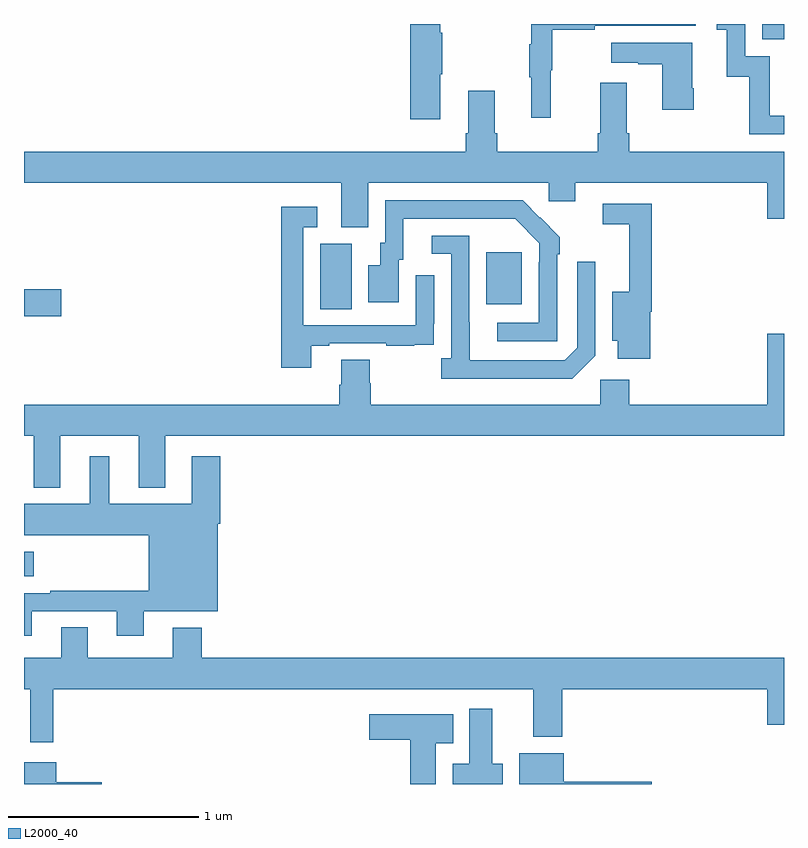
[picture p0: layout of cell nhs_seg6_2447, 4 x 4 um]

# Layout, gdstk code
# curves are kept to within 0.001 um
import gdstk
lib = gdstk.Library(unit=1e-6, precision=1e-09)
def R(c, l, rs):  # rectangles x0, y0, x1, y1
    for r in rs: c.add(gdstk.rectangle(r[:2], r[2:], *l))
def P(c, l, *ps):  # polygons
    for p in ps: c.add(gdstk.Polygon(p, *l))
L2000_40 = (2000, 40)

nhs_seg6_2447 = lib.new_cell('nhs_seg6_2447')
R(nhs_seg6_2447, L2000_40, [(257,950.594,257.05,950.722), (257,951.961,257.197,952.103), (258.56,952,258.724,952.344), (259.433,952.025,259.621,952.3), (260.886,953.421,261,953.5)])
P(nhs_seg6_2447, L2000_40, [(259.772,953.256),(259.779,953.256),(259.779,953.47),(260.003,953.47),(260.003,953.49),(260.536,953.49),(260.536,953.5),(259.67,953.5),(259.67,953.393),(259.659,953.393),(259.659,953.219),(259.67,953.219),(259.67,953.007),(259.772,953.007)],
  [(261,953.016),(260.925,953.016),(260.925,953.331),(260.796,953.331),(260.796,953.5),(260.646,953.5),(260.646,953.469),(260.699,953.469),(260.699,953.223),(260.817,953.223),(260.817,952.92),(261,952.92)],
  [(259.192,953.236),(259.2,953.236),(259.2,953.453),(259.192,953.453),(259.192,953.5),(259.034,953.5),(259.034,952.998),(259.192,952.998)],
  [(260.526,953.161),(260.518,953.161),(260.518,953.401),(260.091,953.401),(260.091,953.297),(260.234,953.297),(260.234,953.287),(260.36,953.287),(260.36,953.049),(260.526,953.049)],
  [(258.811,952.664),(259.761,952.664),(259.761,952.566),(259.9,952.566),(259.9,952.664),(260.912,952.664),(260.912,952.476),(261,952.476),(261,952.828),(260.186,952.828),(260.186,952.924),(260.173,952.924),(260.173,953.191),(260.033,953.191),(260.033,952.924),(260.021,952.924),(260.021,952.828),(259.49,952.828),(259.49,952.924),(259.477,952.924),(259.477,953.149),(259.337,953.149),(259.337,952.924),(259.325,952.924),(259.325,952.828),(257,952.828),(257,952.664),(258.671,952.664),(258.671,952.429),(258.811,952.429)],
  [(259.806,952.289),(259.821,952.289),(259.821,952.377),(259.624,952.572),(258.9,952.572),(258.9,952.35),(258.875,952.35),(258.875,952.231),(258.812,952.231),(258.812,952.035),(258.973,952.035),(258.973,952.26),(258.997,952.26),(258.997,952.476),(259.585,952.476),(259.713,952.347),(259.713,952.247),(259.71,952.247),(259.71,951.927),(259.491,951.927),(259.491,951.831),(259.806,951.831)],
  [(260.297,951.986),(260.303,951.986),(260.303,952.554),(260.046,952.554),(260.046,952.446),(260.186,952.446),(260.186,952.09),(260.096,952.09),(260.096,951.833),(260.126,951.833),(260.126,951.738),(260.297,951.738)],
  [(258.511,951.807),(258.607,951.807),(258.607,951.819),(258.907,951.819),(258.907,951.807),(259.055,951.807),(259.055,951.813),(259.157,951.813),(259.157,951.922),(259.158,951.922),(259.158,952.177),(259.062,952.177),(259.062,951.915),(258.471,951.915),(258.471,952.431),(258.544,952.431),(258.544,952.537),(258.355,952.537),(258.355,951.69),(258.511,951.69)],
  [(260.007,951.753),(260.007,952.249),(259.911,952.249),(259.911,951.795),(259.845,951.729),(259.345,951.729),(259.344,952.386),(259.146,952.386),(259.146,952.29),(259.248,952.29),(259.248,951.742),(259.197,951.742),(259.197,951.632),(259.886,951.632)],
  [(257.191,951.332),(257.603,951.332),(257.603,951.059),(257.743,951.059),(257.743,951.332),(261,951.332),(261,951.871),(260.912,951.871),(260.912,951.496),(260.186,951.496),(260.186,951.628),(260.034,951.628),(260.034,951.496),(258.824,951.496),(258.824,951.609),(258.819,951.609),(258.819,951.734),(258.671,951.734),(258.671,951.602),(258.659,951.602),(258.659,951.496),(257,951.496),(257,951.332),(257.051,951.332),(257.051,951.059),(257.191,951.059)],
  [(257.041,950.409),(257.489,950.409),(257.489,950.28),(257.629,950.28),(257.629,950.408),(258.019,950.408),(258.019,950.87),(258.032,950.87),(258.032,951.226),(257.882,951.226),(257.882,950.974),(257.449,950.974),(257.449,951.226),(257.345,951.226),(257.345,950.974),(257,950.974),(257,950.81),(257.657,950.81),(257.657,950.518),(257.137,950.518),(257.137,950.505),(257,950.505),(257,950.28),(257.041,950.28)],
  [(257.154,950),(259.679,950),(259.679,949.748),(259.832,949.748),(259.832,950),(260.912,950),(260.912,949.812),(261,949.812),(261,950.164),(257.936,950.164),(257.936,950.323),(257.783,950.323),(257.783,950.164),(257.335,950.164),(257.335,950.324),(257.195,950.324),(257.195,950.164),(257,950.164),(257,950),(257.033,950),(257.033,949.719),(257.154,949.719)],
  [(259.519,949.606),(259.465,949.606),(259.465,949.897),(259.343,949.897),(259.343,949.606),(259.256,949.606),(259.256,949.5),(259.519,949.5)],
  [(259.168,949.715),(259.258,949.715),(259.258,949.867),(258.816,949.867),(258.816,949.733),(259.034,949.733),(259.034,949.5),(259.168,949.5)],
  [(260.305,949.511),(259.84,949.511),(259.84,949.663),(259.607,949.663),(259.607,949.5),(260.305,949.5)],
  [(257.41,949.509),(257.17,949.509),(257.17,949.615),(257,949.615),(257,949.5),(257.41,949.5)])

lib.write_gds('nhs_seg6_2447.gds')
